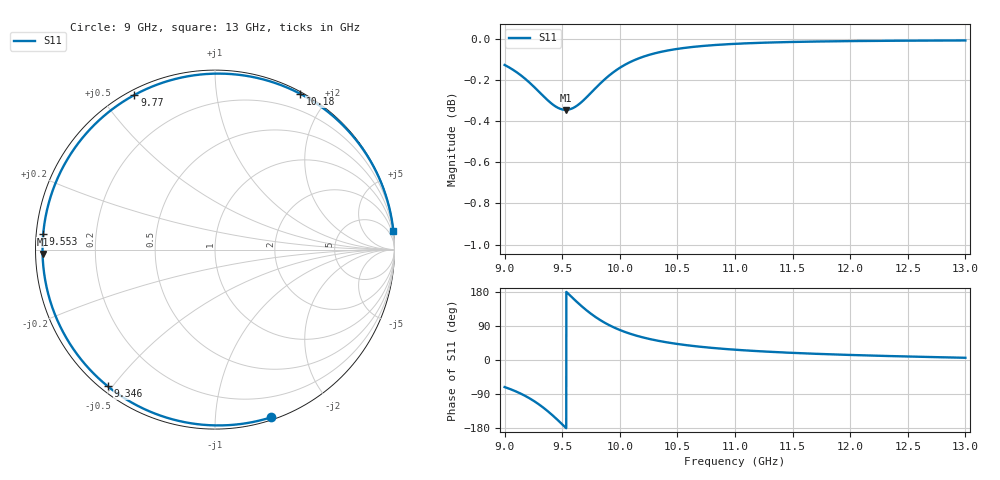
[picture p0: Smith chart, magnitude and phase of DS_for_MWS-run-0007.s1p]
! TOUCHSTONE file generated by CST DESIGN STUDIO
! Date and time: Tue Feb  4 17:45:06 2025
! Project name: C:\Work\MatlabApps\UnitCellOptimizationMatlab\CST\unitcell.cst
! Tree item: Tasks\Sweep1\SPara1\S-Parameters
! Header version: 2024
! Port assignment regex: !\s*Touchstone port\s*([0-9]+)\s*=\s*(CST MWS port|CST DES external port|CST DES block port)\s*(.+)\s* \(\"(.*)\"\)(\s*mode\s*([0-9]+))?.*
! Touchstone port assignment:
! Touchstone port 1 = CST DES external port 1 ("")
# GHz S MA R 50
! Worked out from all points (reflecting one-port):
!   4001 points, 9 GHz to 13 GHz, reference 50 ohm
!   lowest |S11| = -0.3 dB at 9.53 GHz (marker M1), VSWR 50.35, Z = 0.993 - j0.645 ohm
!   phase of S11 starts at -71 deg and turns -283 deg over the sweep
!   S11 on the Smith chart (normalised r, x): 9 GHz: 0.02, -1.39; 9.346 GHz: 0.02, -0.49; 9.553 GHz: 0.02, +0.05; 9.77 GHz: 0.02, +0.61; 10.18 GHz: 0.02, +1.69; 13 GHz: 0, +20
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9  0.9855 -71.4
9.096  0.9819 -82.6
9.203  0.9766 -98.8
9.278  0.9721 -112.9
9.346  0.9679 -128.1
9.419  0.9639 -146.7
9.461  0.9622 -158.4
9.5  0.9613 -169.7
9.53  0.9611 -178.5
9.553  0.9612 174.7
9.607  0.9625 159.0
9.668  0.9653 142.2
9.719  0.9683 129.2
9.77  0.9716 117.5
9.818  0.9746 107.7
9.871  0.9777 98.0
9.93  0.9808 88.7
10  0.9839 79.2
10.086  0.987 69.7
10.179  0.9895 61.3
10.326  0.9923 51.1
10.5  0.9944 42.3
10.721  0.996 34.3
11  0.9972 27.1
11.5  0.9983 18.8
12  0.9988 13.3
12.5  0.999 9.2
13  0.9991 5.9
